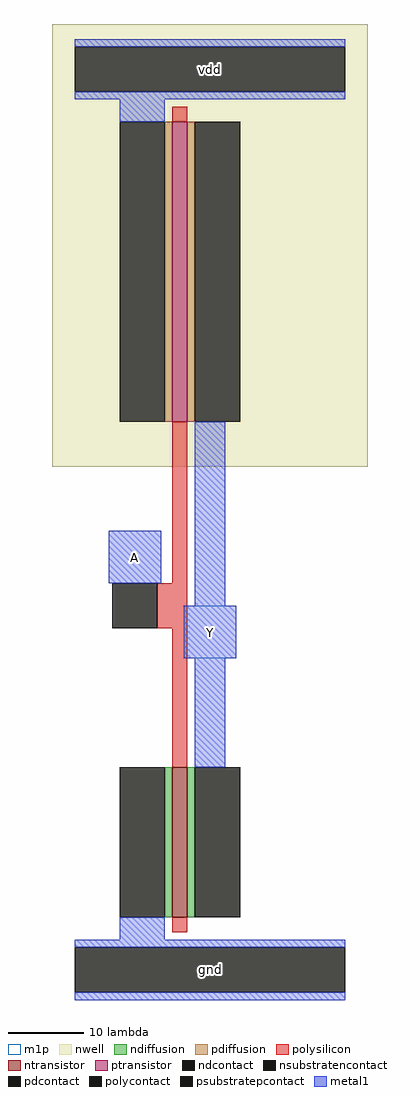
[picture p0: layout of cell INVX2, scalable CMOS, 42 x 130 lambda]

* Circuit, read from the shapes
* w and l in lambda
.subckt INVX2 A Y vdd gnd
M1 Y A gnd gnd nfet w=20 l=2
M2 Y A vdd vdd pfet w=40 l=2
.ends

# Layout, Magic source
magic
tech scmos
magscale 1 2
<< nwell >>
rect -12 134 72 252
<< ntransistor >>
rect 20 14 24 54
<< ptransistor >>
rect 20 146 24 226
<< ndiffusion >>
rect 18 14 20 54
rect 24 14 26 54
<< pdiffusion >>
rect 18 146 20 226
rect 24 146 26 226
<< ndcontact >>
rect 6 14 18 54
rect 26 14 38 54
<< pdcontact >>
rect 6 146 18 226
rect 26 146 38 226
<< psubstratepcontact >>
rect -6 -6 66 6
<< nsubstratencontact >>
rect -6 234 66 246
<< polysilicon >>
rect 20 226 24 230
rect 20 103 24 146
rect 16 91 24 103
rect 20 54 24 91
rect 20 10 24 14
<< polycontact >>
rect 4 91 16 103
<< metal1 >>
rect -6 246 66 248
rect -6 232 66 234
rect 6 226 18 232
rect 3 103 17 117
rect 26 97 34 146
rect 23 83 37 97
rect 26 54 34 83
rect 6 8 18 14
rect -6 6 66 8
rect -6 -8 66 -6
<< m1p >>
rect 3 103 17 117
rect 23 83 37 97
<< labels >>
rlabel metal1 -6 -8 66 8 0 gnd
port 3 nsew ground bidirectional abutment
rlabel metal1 23 83 37 97 0 Y
port 1 nsew signal output
rlabel metal1 3 103 17 117 0 A
port 0 nsew signal input
rlabel metal1 -6 232 66 248 0 vdd
port 2 nsew power bidirectional abutment
<< properties >>
string FIXED_BBOX 0 0 60 240
string LEFclass CORE
string LEFsite core
string LEFsymmetry X Y
<< end >>
